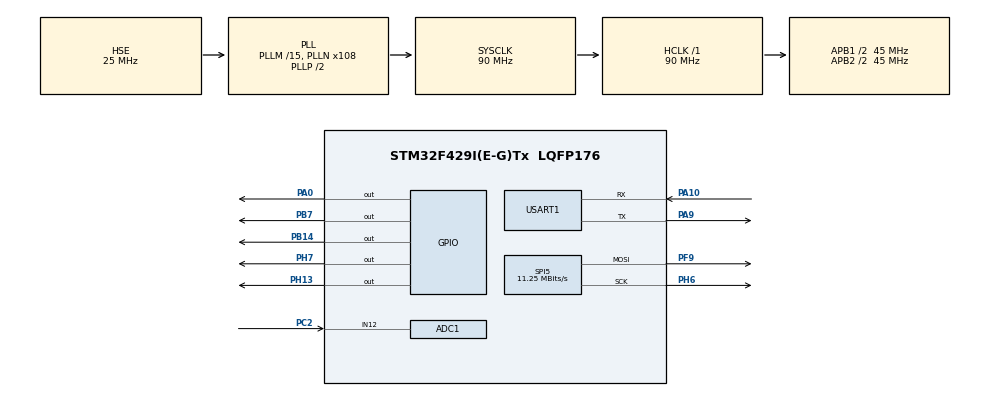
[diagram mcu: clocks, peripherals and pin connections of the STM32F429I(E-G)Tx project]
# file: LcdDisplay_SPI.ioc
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ADC1.Channel-0\#ChannelRegularConversion=ADC_CHANNEL_12
ADC1.ContinuousConvMode=ENABLE
ADC1.DMAContinuousRequests=ENABLE
ADC1.ExternalTrigConv=ADC_EXTERNALTRIGCONV_T3_TRGO
ADC1.NbrOfConversionFlag=1
ADC1.Rank-0\#ChannelRegularConversion=1
ADC1.SamplingTime-0\#ChannelRegularConversion=ADC_SAMPLETIME_3CYCLES
ADC1.ScanConvMode=DISABLE
ADC1.master=1
Dma.ADC1.0.Direction=DMA_PERIPH_TO_MEMORY
Dma.ADC1.0.FIFOMode=DMA_FIFOMODE_DISABLE
Dma.ADC1.0.Instance=DMA2_Stream0
Dma.ADC1.0.MemDataAlignment=DMA_MDATAALIGN_HALFWORD
Dma.ADC1.0.MemInc=DMA_MINC_ENABLE
Dma.ADC1.0.Mode=DMA_CIRCULAR
Dma.ADC1.0.PeriphDataAlignment=DMA_PDATAALIGN_HALFWORD
Dma.ADC1.0.PeriphInc=DMA_PINC_DISABLE
Dma.ADC1.0.Priority=DMA_PRIORITY_HIGH
Dma.Request0=ADC1
Dma.Request1=USART1_RX
Dma.Request2=USART1_TX
Dma.USART1_RX.1.Direction=DMA_PERIPH_TO_MEMORY
Dma.USART1_RX.1.FIFOMode=DMA_FIFOMODE_DISABLE
Dma.USART1_RX.1.Instance=DMA2_Stream2
Dma.USART1_RX.1.MemDataAlignment=DMA_MDATAALIGN_BYTE
Dma.USART1_RX.1.MemInc=DMA_MINC_ENABLE
Dma.USART1_RX.1.Mode=DMA_NORMAL
Dma.USART1_RX.1.PeriphDataAlignment=DMA_PDATAALIGN_BYTE
Dma.USART1_RX.1.PeriphInc=DMA_PINC_DISABLE
Dma.USART1_RX.1.Priority=DMA_PRIORITY_LOW
Dma.USART1_TX.2.Direction=DMA_MEMORY_TO_PERIPH
Dma.USART1_TX.2.FIFOMode=DMA_FIFOMODE_DISABLE
Dma.USART1_TX.2.Instance=DMA2_Stream7
Dma.USART1_TX.2.MemDataAlignment=DMA_MDATAALIGN_BYTE
Dma.USART1_TX.2.MemInc=DMA_MINC_ENABLE
Dma.USART1_TX.2.Mode=DMA_NORMAL
Dma.USART1_TX.2.PeriphDataAlignment=DMA_PDATAALIGN_BYTE
Dma.USART1_TX.2.PeriphInc=DMA_PINC_DISABLE
Dma.USART1_TX.2.Priority=DMA_PRIORITY_LOW
Mcu.Family=STM32F4
Mcu.Name=STM32F429I(E-G)Tx
Mcu.Package=LQFP176
NVIC.ADC_IRQn=true\:0\:0\:false\:false\:true\:true\:true\:true
NVIC.DMA2_Stream0_IRQn=true\:0\:0\:false\:false\:true\:false\:true\:true
NVIC.DMA2_Stream2_IRQn=true\:0\:0\:false\:false\:true\:false\:true\:true
NVIC.DMA2_Stream7_IRQn=true\:0\:0\:false\:false\:true\:false\:true\:true
NVIC.PriorityGroup=NVIC_PRIORITYGROUP_4
NVIC.TIM3_IRQn=true\:0\:0\:false\:false\:true\:true\:true\:true
NVIC.USART1_IRQn=true\:0\:0\:false\:false\:true\:true\:true\:true
PA0/WKUP.Signal=GPIO_Output
PA10.Mode=Asynchronous
PA10.Signal=USART1_RX
PA9.Mode=Asynchronous
PA9.Signal=USART1_TX
PB14.Signal=GPIO_Output
PB6.Signal=S_TIM4_CH1
PB7.Signal=GPIO_Output
PC2.Signal=ADCx_IN12
PF9.GPIO_PuPd=GPIO_PULLUP
PF9.Mode=TX_Only_Simplex_Unidirect_Master
PF9.Signal=SPI5_MOSI
PH0/OSC_IN.Mode=HSE-External-Oscillator
PH0/OSC_IN.Signal=RCC_OSC_IN
PH1/OSC_OUT.Mode=HSE-External-Oscillator
PH1/OSC_OUT.Signal=RCC_OSC_OUT
PH13.GPIO_PuPd=GPIO_PULLUP
PH13.GPIO_Speed=GPIO_SPEED_FREQ_VERY_HIGH
PH13.Signal=GPIO_Output
PH6.GPIO_PuPd=GPIO_PULLUP
PH6.Mode=TX_Only_Simplex_Unidirect_Master
PH6.Signal=SPI5_SCK
PH7.GPIO_PuPd=GPIO_PULLUP
PH7.GPIO_Speed=GPIO_SPEED_FREQ_VERY_HIGH
PH7.PinState=GPIO_PIN_SET
PH7.Signal=GPIO_Output
ProjectManager.HeapSize=0x200
ProjectManager.StackSize=0x400
ProjectManager.TargetToolchain=MDK-ARM V5
RCC.48MHZClocksFreq_Value=45000000
RCC.AHBFreq_Value=90000000
RCC.APB1CLKDivider=RCC_HCLK_DIV2
RCC.APB1Freq_Value=45000000
RCC.APB1TimFreq_Value=90000000
RCC.APB2CLKDivider=RCC_HCLK_DIV2
RCC.APB2Freq_Value=45000000
RCC.APB2TimFreq_Value=90000000
RCC.CortexFreq_Value=90000000
RCC.HCLKFreq_Value=90000000
RCC.HSE_VALUE=25000000
RCC.HSI_VALUE=16000000
RCC.LSE_VALUE=32768
RCC.PLLM=15
RCC.PLLN=108
RCC.PLLSourceVirtual=RCC_PLLSOURCE_HSE
RCC.SYSCLKFreq_VALUE=90000000
RCC.SYSCLKSource=RCC_SYSCLKSOURCE_PLLCLK
RCC.VCOOutputFreq_Value=180000000
SH.ADCx_IN12.0=ADC1_IN12,IN12
SH.S_TIM4_CH1.0=TIM4_CH1
SPI5.BaudRatePrescaler=SPI_BAUDRATEPRESCALER_4
SPI5.CalculateBaudRate=11.25 MBits/s
SPI5.Direction=SPI_DIRECTION_2LINES
SPI5.Mode=SPI_MODE_MASTER
SPI5.VirtualType=VM_MASTER
TIM3.Period=900-1
TIM3.Prescaler=0
TIM3.TIM_MasterOutputTrigger=TIM_TRGO_UPDATE
USART1.VirtualMode=VM_ASYNC
VP_TIM3_VS_ClockSourceINT.Mode=Internal
board=custom

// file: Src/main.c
/* USER CODE BEGIN Header */
/**
  ******************************************************************************
  * @file           : main.c
  * @brief          : Main program body
  ******************************************************************************
  * @attention
  *
  * <h2><center>&copy; Copyright (c) 2021 STMicroelectronics.
  * All rights reserved.</center></h2>
  *
  * This software component is licensed by ST under BSD 3-Clause license,
  * the "License"; You may not use this file except in compliance with the
  * License. You may obtain a copy of the License at:
  *                        opensource.org/licenses/BSD-3-Clause
  *
  ******************************************************************************
  */
/* USER CODE END Header */

#include "main.h"
#include "adc.h"
#include "dma.h"
#include "spi.h"
#include "tim.h"
#include "usart.h"
#include "gpio.h"

/* USER CODE BEGIN Includes */
#include "lcd_init.h"
#include "lcd.h"
#include "pic.h"
#include "delay.h"
/* USER CODE END Includes */

/* USER CODE BEGIN PTD */
#define LEN 240
__IO uint16_t ADC_DMA_ConvertValue[LEN];
__IO uint32_t TransDone =1;

uint16_t ADC_Buffer[LEN];

 double max;
 double min;
/* USER CODE END PTD */

/* USER CODE BEGIN PV */
double value[LCD_W];
uint8_t c1,c2,c3;
/* USER CODE END PV */

void SystemClock_Config(void);

/* USER CODE BEGIN 0 */
double Get_ADC(){
  HAL_ADC_Start(&hadc1);
  HAL_ADC_PollForConversion(&hadc1,1);
	return HAL_ADC_GetValue(&hadc1);
}

// void write(){
//     value=3.3*Get_ADC()/4096;
//     c1=value;
//     c2=value*10-c1*10;
//     c3=value*100-c2*10-c1*100;
//     ADC_Buffer[0]=c1+0x30;
//     ADC_Buffer[1]=0x2E;
//     ADC_Buffer[2]=c2+0x30;
//     ADC_Buffer[3]=c3+0x30;
//     HAL_UART_Transmit_DMA(&huart1,ADC_Buffer,sizeof(ADC_Buffer));
// }

 void HAL_ADC_ConvClptCallback(ADC_HandleTypeDef *hadc){
   if (TransDone==0){
     HAL_ADC_Stop(&hadc1);
     TransDone=1;
   }
 }

/* USER CODE END 0 */

int main(void)
{

  /* MCU Configuration--------------------------------------------------------*/

  /* Reset of all peripherals, Initializes the Flash interface and the Systick. */
  HAL_Init();

  /* Configure the system clock */
  SystemClock_Config();

  /* Initialize all configured peripherals */
  MX_GPIO_Init();
  MX_DMA_Init();
  MX_SPI5_Init();
  MX_ADC1_Init();
  MX_USART1_UART_Init();
  MX_TIM3_Init();

  /* USER CODE BEGIN 2 */
	delay_init(180);
  LCD_Init();
	LCD_Fill(0,0,LCD_W,LCD_H,WHITE);
  HAL_ADC_Start_DMA(&hadc1,(uint32_t*)&ADC_Buffer,LCD_W);
  HAL_TIM_Base_Start(&htim3);

  /* USER CODE END 2 */

  /* Infinite loop */
  /* USER CODE BEGIN WHILE */
  while (1)
  {
    max=0.10;
    min=3.30;

  LCD_DrawLine(0,LCD_H*4/5,LCD_W,LCD_H*4/5,BLACK);
  LCD_ShowString(0,LCD_H*6/7,"max(V):",RED,WHITE,16,0);
  LCD_ShowString(LCD_W/2,LCD_H*6/7,"min(V):",RED,WHITE,16,0);

    // HAL_ADC_Start_DMA(&hadc1,(uint32_t*)&ADC_Buffer,LCD_W);
     for(int x=0,i=0;x<LCD_W;x+=4,i++){
        if(TransDone==1){
        //HAL_Delay(20);
        //HAL_ADC_Start_DMA(&hadc1,(uint32_t*)&ADC_Buffer,LCD_W);
        value[x]=3.3*ADC_Buffer[i+40]/4096;
        LCD_DrawPoint(x,30*(value[x])+LCD_H/3,RED);

       if(x) LCD_DrawLine(x-4,30*value[x-4]+LCD_H/3,x,value[x]*30+LCD_H/3,RED);

        if(value[x]>max)  max=value[x];
        LCD_ShowFloatNum1(70,LCD_H*6/7,max,3,RED,WHITE,16);

      if(value[x]<=min)   min=value[x];
      LCD_ShowFloatNum1(LCD_W/2+50,LCD_H*6/7,min,3,RED,WHITE,16);
      }
      if(TransDone==0) i=0;
      }
      LCD_Fill(0,0,LCD_W,LCD_H,WHITE);
   }
    }

		// }
    /* USER CODE END WHILE */

void SystemClock_Config(void)
{
  RCC_OscInitTypeDef RCC_OscInitStruct = {0};
  RCC_ClkInitTypeDef RCC_ClkInitStruct = {0};

  /** Configure the main internal regulator output voltage
  */
  __HAL_RCC_PWR_CLK_ENABLE();
  __HAL_PWR_VOLTAGESCALING_CONFIG(PWR_REGULATOR_VOLTAGE_SCALE3);
  /** Initializes the CPU, AHB and APB busses clocks
  */
  RCC_OscInitStruct.OscillatorType = RCC_OSCILLATORTYPE_HSE;
  RCC_OscInitStruct.HSEState = RCC_HSE_ON;
  RCC_OscInitStruct.PLL.PLLState = RCC_PLL_ON;
  RCC_OscInitStruct.PLL.PLLSource = RCC_PLLSOURCE_HSE;
  RCC_OscInitStruct.PLL.PLLM = 15;
  RCC_OscInitStruct.PLL.PLLN = 108;
  RCC_OscInitStruct.PLL.PLLP = RCC_PLLP_DIV2;
  RCC_OscInitStruct.PLL.PLLQ = 4;
  if (HAL_RCC_OscConfig(&RCC_OscInitStruct) != HAL_OK)
  {
    Error_Handler();
  }
  /** Activate the Over-Drive mode
  */
  if (HAL_PWREx_EnableOverDrive() != HAL_OK)
  {
    Error_Handler();
  }
  /** Initializes the CPU, AHB and APB busses clocks
  */
  RCC_ClkInitStruct.ClockType = RCC_CLOCKTYPE_HCLK|RCC_CLOCKTYPE_SYSCLK
                              |RCC_CLOCKTYPE_PCLK1|RCC_CLOCKTYPE_PCLK2;
  RCC_ClkInitStruct.SYSCLKSource = RCC_SYSCLKSOURCE_PLLCLK;
  RCC_ClkInitStruct.AHBCLKDivider = RCC_SYSCLK_DIV1;
  RCC_ClkInitStruct.APB1CLKDivider = RCC_HCLK_DIV2;
  RCC_ClkInitStruct.APB2CLKDivider = RCC_HCLK_DIV2;

  if (HAL_RCC_ClockConfig(&RCC_ClkInitStruct, FLASH_LATENCY_2) != HAL_OK)
  {
    Error_Handler();
  }
}

void Error_Handler(void)
{
}

/************************ (C) COPYRIGHT STMicroelectronics *****END OF FILE****/
